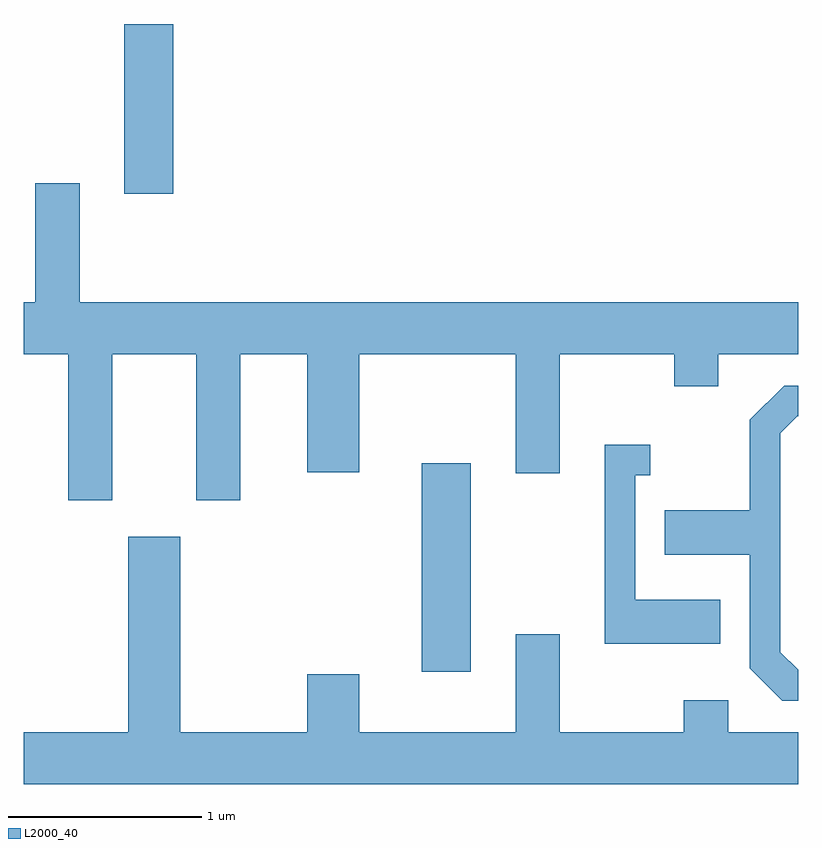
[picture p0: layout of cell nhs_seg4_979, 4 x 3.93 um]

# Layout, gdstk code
import gdstk
lib = gdstk.Library(unit=1e-6, precision=1e-09)
def R(c, l, rs):  # rectangles x0, y0, x1, y1
    for r in rs: c.add(gdstk.rectangle(r[:2], r[2:], *l))
def P(c, l, *ps):  # polygons
    for p in ps: c.add(gdstk.Polygon(p, *l))
L2000_40 = (2000, 40)

nhs_seg4_979 = lib.new_cell('nhs_seg4_979')
R(nhs_seg4_979, L2000_40, [(215.666,1308.636,215.919,1309.714), (214.131,1311.106,214.384,1311.982)])
P(nhs_seg4_979, L2000_40, [(214.069,1310.276),(214.501,1310.276),(214.501,1309.521),(214.729,1309.521),(214.729,1310.276),(215.076,1310.276),(215.076,1309.666),(215.344,1309.666),(215.344,1310.276),(216.151,1310.276),(216.151,1309.661),(216.379,1309.661),(216.379,1310.276),(216.971,1310.276),(216.971,1310.111),(217.199,1310.111),(217.199,1310.276),(217.611,1310.276),(217.611,1310.544),(213.899,1310.544),(213.899,1311.159),(213.671,1311.159),(213.671,1310.544),(213.611,1310.544),(213.611,1310.276),(213.841,1310.276),(213.841,1309.521),(214.069,1309.521)],
  [(217.611,1308.645),(217.519,1308.737),(217.519,1309.869),(217.607,1309.956),(217.611,1309.956),(217.611,1310.114),(217.539,1310.114),(217.361,1309.937),(217.361,1309.469),(216.921,1309.469),(216.921,1309.241),(217.361,1309.241),(217.361,1308.654),(217.529,1308.486),(217.611,1308.486)],
  [(217.209,1309.009),(216.769,1309.009),(216.769,1309.651),(216.848,1309.651),(216.848,1309.809),(216.611,1309.809),(216.611,1308.781),(217.209,1308.781)],
  [(217.611,1308.324),(217.249,1308.324),(217.249,1308.489),(217.021,1308.489),(217.021,1308.324),(216.379,1308.324),(216.379,1308.829),(216.151,1308.829),(216.151,1308.324),(215.344,1308.324),(215.344,1308.624),(215.076,1308.624),(215.076,1308.324),(214.419,1308.324),(214.419,1309.334),(214.151,1309.334),(214.151,1308.324),(213.611,1308.324),(213.611,1308.056),(217.611,1308.056)])

lib.write_gds('nhs_seg4_979.gds')
